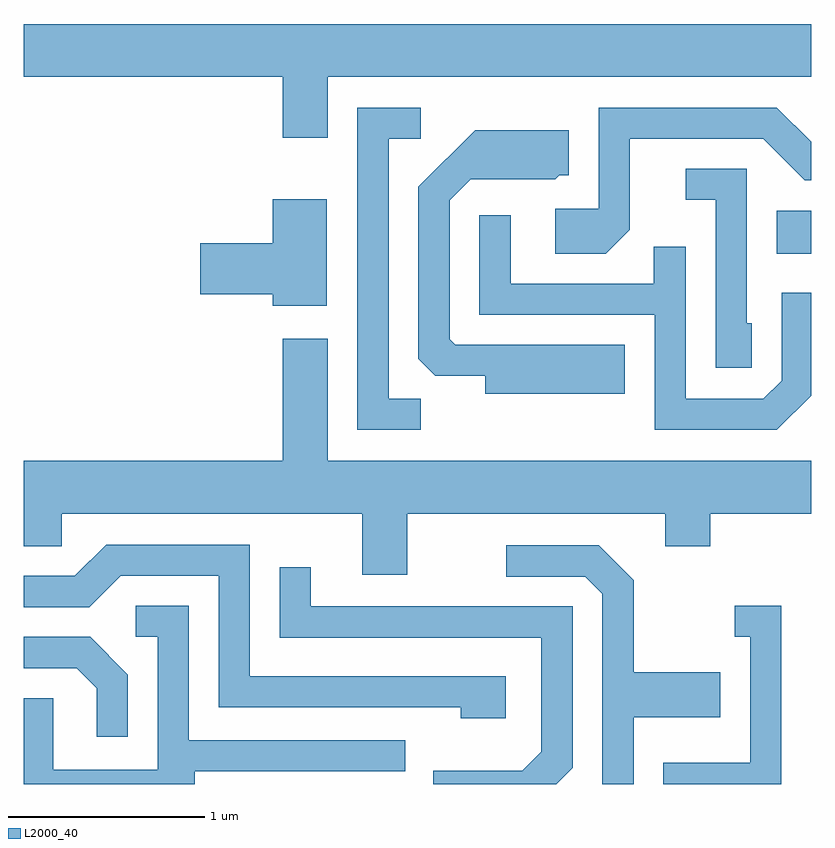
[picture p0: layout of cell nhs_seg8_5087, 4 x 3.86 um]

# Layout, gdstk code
import gdstk
lib = gdstk.Library(unit=1e-6, precision=1e-09)
def R(c, l, rs):  # rectangles x0, y0, x1, y1
    for r in rs: c.add(gdstk.rectangle(r[:2], r[2:], *l))
def P(c, l, *ps):  # polygons
    for p in ps: c.add(gdstk.Polygon(p, *l))
L2000_40 = (2000, 40)

nhs_seg8_5087 = lib.new_cell('nhs_seg8_5087')
R(nhs_seg8_5087, L2000_40, [(341.436,1871.036,341.611,1871.254)])
P(nhs_seg8_5087, L2000_40, [(339.154,1871.936),(341.611,1871.936),(341.611,1872.204),(337.611,1872.204),(337.611,1871.936),(338.926,1871.936),(338.926,1871.626),(339.154,1871.626)],
  [(340.689,1871.159),(340.689,1871.621),(341.369,1871.621),(341.579,1871.411),(341.611,1871.411),(341.611,1871.605),(341.437,1871.779),(340.531,1871.779),(340.531,1871.264),(340.311,1871.264),(340.311,1871.036),(340.567,1871.036)],
  [(339.628,1870.299),(339.464,1870.299),(339.464,1871.621),(339.628,1871.621),(339.628,1871.779),(339.306,1871.779),(339.306,1870.141),(339.628,1870.141)],
  [(340.664,1870.574),(339.802,1870.574),(339.774,1870.602),(339.774,1871.309),(339.882,1871.416),(340.312,1871.416),(340.332,1871.436),(340.379,1871.436),(340.379,1871.664),(339.904,1871.664),(339.616,1871.377),(339.616,1870.502),(339.702,1870.416),(339.956,1870.416),(339.956,1870.326),(340.664,1870.326)],
  [(341.309,1870.684),(341.284,1870.684),(341.284,1871.469),(340.973,1871.469),(340.973,1871.311),(341.126,1871.311),(341.126,1870.456),(341.309,1870.456)],
  [(339.149,1871.314),(338.876,1871.314),(338.876,1871.089),(338.506,1871.089),(338.506,1870.831),(338.876,1870.831),(338.876,1870.771),(339.149,1870.771)],
  [(341.611,1870.315),(341.611,1870.839),(341.461,1870.839),(341.461,1870.392),(341.369,1870.299),(340.974,1870.299),(340.974,1871.073),(340.811,1871.073),(340.811,1870.884),(340.084,1870.884),(340.084,1871.233),(339.926,1871.233),(339.926,1870.726),(340.816,1870.726),(340.816,1870.141),(341.437,1870.141)],
  [(339.559,1869.716),(340.871,1869.716),(340.871,1869.551),(341.099,1869.551),(341.099,1869.716),(341.611,1869.716),(341.611,1869.984),(339.154,1869.984),(339.154,1870.604),(338.926,1870.604),(338.926,1869.984),(337.611,1869.984),(337.611,1869.551),(337.804,1869.551),(337.804,1869.716),(339.331,1869.716),(339.331,1869.406),(339.559,1869.406)],
  [(340.059,1868.889),(338.759,1868.889),(338.759,1869.559),(338.029,1869.559),(337.869,1869.399),(337.611,1869.399),(337.611,1869.241),(337.942,1869.241),(338.102,1869.401),(338.601,1869.401),(338.601,1868.731),(339.831,1868.731),(339.831,1868.676),(340.059,1868.676)],
  [(340.709,1868.681),(341.149,1868.681),(341.149,1868.909),(340.709,1868.909),(340.709,1869.377),(340.532,1869.554),(340.063,1869.554),(340.063,1869.396),(340.464,1869.396),(340.551,1869.309),(340.551,1868.342),(340.709,1868.342)],
  [(340.399,1868.424),(340.399,1869.244),(339.069,1869.244),(339.069,1869.443),(338.911,1869.443),(338.911,1869.086),(340.241,1869.086),(340.241,1868.507),(340.144,1868.409),(339.691,1868.409),(339.691,1868.342),(340.317,1868.342)],
  [(338.479,1868.406),(339.548,1868.406),(339.548,1868.564),(338.449,1868.564),(338.449,1869.249),(338.178,1869.249),(338.178,1869.091),(338.291,1869.091),(338.291,1868.414),(337.759,1868.414),(337.759,1868.779),(337.611,1868.779),(337.611,1868.342),(338.479,1868.342)],
  [(341.459,1869.249),(341.223,1869.249),(341.223,1869.091),(341.301,1869.091),(341.301,1868.449),(340.861,1868.449),(340.861,1868.342),(341.459,1868.342)],
  [(338.139,1868.897),(337.947,1869.089),(337.611,1869.089),(337.611,1868.931),(337.879,1868.931),(337.981,1868.829),(337.981,1868.583),(338.139,1868.583)])

lib.write_gds('nhs_seg8_5087.gds')
